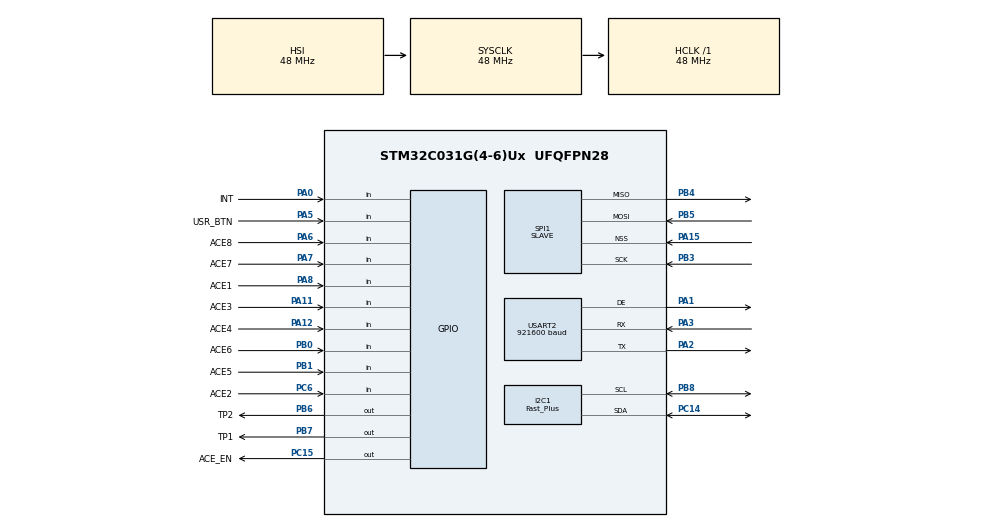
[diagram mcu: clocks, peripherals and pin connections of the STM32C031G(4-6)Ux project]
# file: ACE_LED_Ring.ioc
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I2C1.CustomTiming=Disabled
I2C1.I2C_Speed_Mode=I2C_Fast_Plus
I2C1.Speed=400
I2C1.Timing=0x2000091A
Mcu.Family=STM32C0
Mcu.Name=STM32C031G(4-6)Ux
Mcu.Package=UFQFPN28
NVIC.TIM14_IRQn=true\:2\:0\:true\:false\:true\:true\:true\:true
NVIC.TIM16_IRQn=true\:1\:0\:true\:false\:true\:true\:true\:true
NVIC.USART2_IRQn=true\:1\:0\:true\:false\:true\:true\:true\:true
PA0.GPIO_Label=INT
PA0.Signal=GPIO_Input
PA1.GPIO_PuPd=GPIO_PULLDOWN
PA1.GPIO_Speed=GPIO_SPEED_FREQ_HIGH
PA1.Mode=Hardware Flow Control (RS485)
PA1.Signal=USART2_DE
PA11\ [PA9].GPIO_Label=ACE3
PA11\ [PA9].Signal=GPIO_Input
PA12\ [PA10].GPIO_Label=ACE4
PA12\ [PA10].Signal=GPIO_Input
PA13.Mode=Serial_Wire
PA13.Signal=DEBUG_SWDIO
PA14-BOOT0.Mode=Serial_Wire
PA14-BOOT0.Signal=DEBUG_SWCLK
PA15.Mode=NSS_Signal_Hard_Input
PA15.Signal=SPI1_NSS
PA2.GPIO_PuPd=GPIO_PULLUP
PA2.GPIO_Speed=GPIO_SPEED_FREQ_HIGH
PA2.Mode=Asynchronous
PA2.PinState=GPIO_PIN_SET
PA2.Signal=USART2_TX
PA3.GPIO_PuPd=GPIO_PULLUP
PA3.GPIO_Speed=GPIO_SPEED_FREQ_HIGH
PA3.Mode=Asynchronous
PA3.PinState=GPIO_PIN_SET
PA3.Signal=USART2_RX
PA5.GPIO_Label=USR_BTN
PA5.GPIO_PuPd=GPIO_PULLUP
PA5.Signal=GPIO_Input
PA6.GPIO_Label=ACE8
PA6.Signal=GPIO_Input
PA7.GPIO_Label=ACE7
PA7.Signal=GPIO_Input
PA8.GPIO_Label=ACE1
PA8.Signal=GPIO_Input
PB0.GPIO_Label=ACE6
PB0.Signal=GPIO_Input
PB1.GPIO_Label=ACE5
PB1.Signal=GPIO_Input
PB3.Mode=Full_Duplex_Slave
PB3.Signal=SPI1_SCK
PB4.Mode=Full_Duplex_Slave
PB4.Signal=SPI1_MISO
PB5.Mode=Full_Duplex_Slave
PB5.Signal=SPI1_MOSI
PB6.GPIO_Label=TP2
PB6.Signal=GPIO_Output
PB7.GPIO_Label=TP1
PB7.Signal=GPIO_Output
PB8.GPIO_FM8=SYSCFG_FASTMODEPLUS_PB8
PB8.GPIO_Pu=GPIO_PULLUP
PB8.GPIO_Speed=GPIO_SPEED_FREQ_LOW
PB8.Mode=I2C
PB8.Signal=I2C1_SCL
PC14-OSCX_IN\ (PC14).GPIO_FMPC14=SYSCFG_FASTMODEPLUS_PC14
PC14-OSCX_IN\ (PC14).GPIO_Pu=GPIO_PULLUP
PC14-OSCX_IN\ (PC14).Mode=I2C
PC14-OSCX_IN\ (PC14).Signal=I2C1_SDA
PC15-OSCX_OUT\ (PC15).GPIO_Label=ACE_EN
PC15-OSCX_OUT\ (PC15).Signal=GPIO_Output
PC6.GPIO_Label=ACE2
PC6.Signal=GPIO_Input
ProjectManager.HeapSize=0x200
ProjectManager.StackSize=0x400
ProjectManager.TargetToolchain=STM32CubeIDE
RCC.ADCFreq_Value=48000000
RCC.AHBFreq_Value=48000000
RCC.CortexFreq_Value=48000000
RCC.EXTERNAL_CLOCK_VALUE=12288000
RCC.HCLKFreq_Value=48000000
RCC.HSE_VALUE=8000000
RCC.HSISYSCLKDivider=RCC_HSI_DIV1
RCC.HSI_VALUE=48000000
RCC.LSE_VALUE=32768
RCC.SYSCLKFreq_VALUE=48000000
SPI1.Direction=SPI_DIRECTION_2LINES
SPI1.Mode=SPI_MODE_SLAVE
SPI1.VirtualNSS=VM_NSSHARD
SPI1.VirtualType=VM_SLAVE
TIM14.Period=4799
TIM14.Prescaler=50
TIM16.AutoReloadPreload=TIM_AUTORELOAD_PRELOAD_DISABLE
TIM16.Period=2000
TIM16.Prescaler=34
USART2.BaudRate=921600
USART2.StopBits=STOPBITS_2
USART2.VirtualMode-Asynchronous=VM_ASYNC
USART2.VirtualMode-Hardware\ Flow\ Control\ (RS485)=VM_ASYNC
VP_TIM14_VS_ClockSourceINT.Mode=Enable_Timer
VP_TIM16_VS_ClockSourceINT.Mode=Enable_Timer
board=custom

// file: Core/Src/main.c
/* USER CODE BEGIN Header */
/**
  ******************************************************************************
  * @file           : main.c
  * @brief          : Main program body
  ******************************************************************************
  * @attention
  *
  * Copyright (c) 2023 STMicroelectronics.
  * All rights reserved.
  *
  * This software is licensed under terms that can be found in the LICENSE file
  * in the root directory of this software component.
  * If no LICENSE file comes with this software, it is provided AS-IS.
  *
  ******************************************************************************
  */
/* USER CODE END Header */
#include "main.h"
#include "i2c.h"
#include "spi.h"
#include "tim.h"
#include "usart.h"
#include "gpio.h"

/* USER CODE BEGIN Includes */
#include "mb.h"
#include "port.h"
#include "mbport.h"

#include "led.h"
#include "ACE.h"
#include "housekeep.h"
#include "settings.h"

/* USER CODE END Includes */

/* USER CODE BEGIN PD */
extern USHORT   usRegInputStart;
extern USHORT   usRegInputBuf[REG_INPUT_NREGS];

extern USHORT   usRegHoldingStart;
extern USHORT   usRegHoldingBuf[REG_HOLDING_NREGS];

extern USHORT   usRegCoilStart;
extern USHORT   usRegCoilBuf[REG_COIL_NREGS];

extern USHORT   usRegDiscreteStart;
extern USHORT   usRegDiscreteBuf[REG_DISCRETE_NREGS];

volatile ace_driver_t hace1;
volatile led_driver_t hled1;
volatile settings_t settings;

extern void prvvTIMERExpiredISR( void );

/* USER CODE END PD */

void SystemClock_Config(void);

int main(void)
{

  /* MCU Configuration--------------------------------------------------------*/

  /* Reset of all peripherals, Initializes the Flash interface and the Systick. */
  HAL_Init();

  /* Configure the system clock */
  SystemClock_Config();

  /* Initialize all configured peripherals */
  MX_GPIO_Init();
  MX_SPI1_Init();
  MX_I2C1_Init();
  MX_USART2_UART_Init();
  MX_TIM16_Init();
  MX_TIM14_Init();
  /* USER CODE BEGIN 2 */

  settings_init();

  led_init();
  ACEInit(&hace1);

  MB_startup();
  start_housekeeping();

  /* USER CODE END 2 */

  /* Infinite loop */
  while (1)
  {

    /* USER CODE BEGIN 3 */

	  if(eMBPoll()!=MB_ENOERR)Error_Handler();  /*Modbus poll update in each run*/
	  //if(usRegCoilBuf[0] == 1)Error_Handler();
	  //led_demo_value(readACEQuick());

  }
  /* USER CODE END 3 */
}

void SystemClock_Config(void)
{
  RCC_OscInitTypeDef RCC_OscInitStruct = {0};
  RCC_ClkInitTypeDef RCC_ClkInitStruct = {0};

  /** Initializes the RCC Oscillators according to the specified parameters
  * in the RCC_OscInitTypeDef structure.
  */
  RCC_OscInitStruct.OscillatorType = RCC_OSCILLATORTYPE_HSI;
  RCC_OscInitStruct.HSIState = RCC_HSI_ON;
  RCC_OscInitStruct.HSIDiv = RCC_HSI_DIV1;
  RCC_OscInitStruct.HSICalibrationValue = RCC_HSICALIBRATION_DEFAULT;
  if (HAL_RCC_OscConfig(&RCC_OscInitStruct) != HAL_OK)
  {
    Error_Handler();
  }

  /** Initializes the CPU, AHB and APB buses clocks
  */
  RCC_ClkInitStruct.ClockType = RCC_CLOCKTYPE_HCLK|RCC_CLOCKTYPE_SYSCLK
                              |RCC_CLOCKTYPE_PCLK1;
  RCC_ClkInitStruct.SYSCLKSource = RCC_SYSCLKSOURCE_HSI;
  RCC_ClkInitStruct.SYSCLKDivider = RCC_SYSCLK_DIV1;
  RCC_ClkInitStruct.AHBCLKDivider = RCC_HCLK_DIV1;
  RCC_ClkInitStruct.APB1CLKDivider = RCC_APB1_DIV1;

  if (HAL_RCC_ClockConfig(&RCC_ClkInitStruct, FLASH_LATENCY_1) != HAL_OK)
  {
    Error_Handler();
  }
}

void Error_Handler(void)
{
  /* USER CODE BEGIN Error_Handler_Debug */
  /* User can add his own implementation to report the HAL error return state */
  //__disable_irq();

  while (1)
  {
		for(int i = 0 ; i<30; i++){
		  uint8_t arr6[4] = {led_adr_arr[i], 0,0,255};
		  while(HAL_I2C_Master_Transmit(&hi2c1, IS3_ADR, arr6, 4, 100) == HAL_BUSY){}
		}
		HAL_Delay(500);
		for(int i = 0 ; i<30; i++){
		  uint8_t arr6[4] = {led_adr_arr[i], 255,255,255};
		  while(HAL_I2C_Master_Transmit(&hi2c1, IS3_ADR, arr6, 4, 100) == HAL_BUSY){}
		}
		HAL_Delay(500);
  }
  /* USER CODE END Error_Handler_Debug */
}
